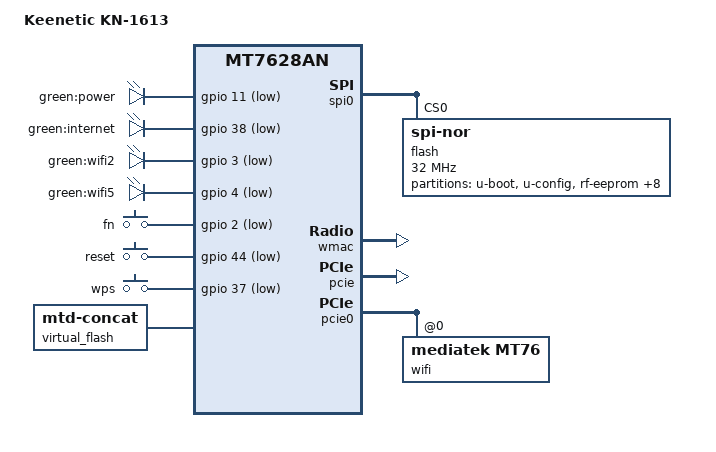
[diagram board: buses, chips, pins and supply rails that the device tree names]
// SPDX-License-Identifier: GPL-2.0-or-later OR MIT
#include "mt7628an.dtsi"

#include <dt-bindings/gpio/gpio.h>
#include <dt-bindings/input/input.h>

/ {
	compatible = "keenetic,kn-1613", "mediatek,mt7628an-soc";
	model = "Keenetic KN-1613";

	aliases {
		led-boot = &led_power;
		led-failsafe = &led_power;
		led-running = &led_power;
		led-upgrade = &led_power;
	};

	chosen {
		bootargs = "console=ttyS0,115200";
	};

	leds {
		compatible = "gpio-leds";

		led_power: power {
			label = "green:power";
			gpios = <&gpio 11 GPIO_ACTIVE_LOW>;
		};

		internet {
			label = "green:internet";
			gpios = <&gpio 38 GPIO_ACTIVE_LOW>;
		};

		wifi2 {
			label = "green:wifi2";
			gpios = <&gpio 3 GPIO_ACTIVE_LOW>;
			linux,default-trigger = "phy0tpt";
		};

		wifi5 {
			label = "green:wifi5";
			gpios = <&gpio 4 GPIO_ACTIVE_LOW>;
			linux,default-trigger = "phy1tpt";
		};
	};

	keys {
		compatible = "gpio-keys";

		fn {
			label = "fn";
			gpios = <&gpio 2 GPIO_ACTIVE_LOW>;
			linux,code = <BTN_0>;
		};

		reset {
			label = "reset";
			gpios = <&gpio 44 GPIO_ACTIVE_LOW>;
			linux,code = <KEY_RESTART>;
		};

		wps {
			label = "wps";
			gpios = <&gpio 37 GPIO_ACTIVE_LOW>;
			linux,code = <KEY_WPS_BUTTON>;
		};
	};

	virtual_flash {
		compatible = "mtd-concat";
		devices = <&firmware1 &firmware2>;

		partitions {
			compatible = "fixed-partitions";
			#address-cells = <1>;
			#size-cells = <1>;

			partition@0 {
				compatible = "denx,uimage";
				label = "firmware";
				reg = <0x0 0x1ec0000>;
			};
		};
	};
};

&state_default {
	gpio {
		groups = "i2s", "i2c", "gpio", "refclk", "wdt", "wled_an";
		function = "gpio";
	};
};

&usbphy {
	status = "disabled";
};

&ehci {
	status = "disabled";
};

&ohci {
	status = "disabled";
};

&spi0 {
	status = "okay";

	flash@0 {
		compatible = "jedec,spi-nor";
		reg = <0>;
		spi-max-frequency = <32000000>;

		partitions: partitions {
			compatible = "fixed-partitions";
			#address-cells = <1>;
			#size-cells = <1>;

			partition@0 {
				label = "u-boot";
				reg = <0x0 0x30000>;
				read-only;
			};

			partition@30000 {
				label = "u-config";
				reg = <0x30000 0x10000>;
				read-only;
			};

			factory: partition@40000 {
				label = "rf-eeprom";
				reg = <0x40000 0x10000>;
				read-only;
			};

			firmware1: partition@50000 {
				label = "firmware_1";
				reg = <0x50000 0xf60000>;
			};

			partition@fb0000 {
				label = "config_1";
				reg = <0xfb0000 0x40000>;
				read-only;
			};

			partition@ff0000 {
				label = "dump";
				reg = <0xff0000 0x10000>;
				read-only;
			};

			partition@1000000 {
				label = "u-state";
				reg = <0x1000000 0x30000>;
				read-only;
			};

			partition@1030000 {
				label = "u-config_res";
				reg = <0x1030000 0x10000>;
				read-only;
			};

			partition@1040000 {
				label = "rf-eeprom_res";
				reg = <0x1040000 0x10000>;
				read-only;
			};

			firmware2: partition@1050000 {
				label = "firmware_2";
				reg = <0x1050000 0xf60000>;
			};

			partition@1fb0000 {
				label = "config_2";
				reg = <0x1fb0000 0x40000>;
				read-only;
			};
		};
	};
};

&ethernet {
	nvmem-cells = <&macaddr_factory_4>;
	nvmem-cell-names = "mac-address";
};

&esw {
	mediatek,portmap = <0x3e>;
};

&wmac {
	status = "okay";

	mediatek,mtd-eeprom = <&factory 0x0>;
};

&pcie {
	status = "okay";
};

&pcie0 {
	wifi@0,0 {
		compatible = "mediatek,mt76";
		reg = <0x0000 0 0 0 0>;
		mediatek,mtd-eeprom = <&factory 0x0400>;
		ieee80211-freq-limit = <5000000 6000000>;
	};
};

&factory {
	compatible = "nvmem-cells";
	#address-cells = <1>;
	#size-cells = <1>;

	macaddr_factory_4: macaddr@4 {
		reg = <0x4 0x6>;
	};
};
